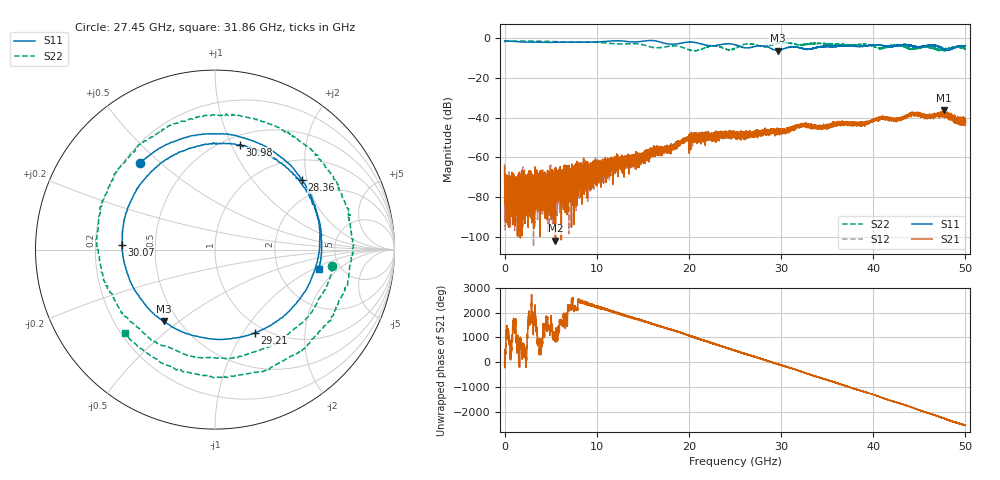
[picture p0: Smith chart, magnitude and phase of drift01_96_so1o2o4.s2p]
!Created with skrf (http://scikit-rf.org).
# Hz S RI R 50.0
!freq ReS11 ImS11 ReS21 ImS21 ReS12 ImS12 ReS22 ImS22
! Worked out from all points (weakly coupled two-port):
!   10001 points, 300 kHz to 50 GHz, reference 50 ohm
!   highest |S21| = -36.30 dB at 47.67 GHz (marker M1); lowest = -101.9 dB at 5.52 GHz (marker M2)
!   lowest |S11| = -6.2 dB at 29.64 GHz (marker M3), VSWR 2.92, Z = 21 - j22 ohm
!   |S11| at or under -10 dB: nowhere
!   |S22| runs from -6.5 to -1.4 dB; largest |S21 - S12| = 0.0041
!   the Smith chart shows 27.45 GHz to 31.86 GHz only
!   S11 on the Smith chart (normalised r, x): 27.45 GHz: 0.26, +0.43; 28.36 GHz: 1.48, +1.86; 29.21 GHz: 0.89, -1.13; 30.07 GHz: 0.32, +0.02; 30.98 GHz: 0.59, +1.08; 31.86 GHz: 3.47, -1.12
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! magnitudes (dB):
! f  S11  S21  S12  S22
! 300 kHz  -1.3  -64.9  -63.2  -2.1
! 310.3 MHz  -1.4  -75.1  -73.1  -1.4
! 5.52 GHz  -2.0  -101.9  -67.1  -1.7
! 8.335 GHz  -2.0  -68.1  -67.9  -1.8
! 16.67 GHz  -1.6  -56.0  -57.1  -4.8
! 18.62 GHz  -2.9  -52.6  -54.1  -3.9
! 20.5 GHz  -2.0  -51.9  -50.9  -6.3
! 22.6 GHz  -3.8  -49.1  -48.3  -3.8
! 25 GHz  -3.3  -47.3  -49.2  -5.1
! 27.45 GHz  -3.9  -48.0  -47.4  -3.6
! 28.36 GHz  -4.1  -48.0  -46.4  -4.2
! 29.21 GHz  -5.8  -46.6  -46.7  -3.0
! 29.64 GHz  -6.2  -47.1  -46.4  -2.5
! 30.07 GHz  -5.7  -45.7  -47.2  -2.3
! 30.98 GHz  -4.4  -46.3  -46.2  -2.5
! 31.86 GHz  -4.6  -43.9  -44.1  -3.3
! 33.34 GHz  -5.3  -44.0  -43.8  -2.7
! 41.67 GHz  -4.3  -41.0  -41.0  -4.3
! 44.44 GHz  -4.0  -37.9  -38.5  -5.4
! 46.48 GHz  -3.7  -39.0  -38.9  -5.1
! 47.67 GHz  -5.4  -36.3  -38.5  -6.2
! 50 GHz  -3.9  -41.5  -41.1  -5.3
